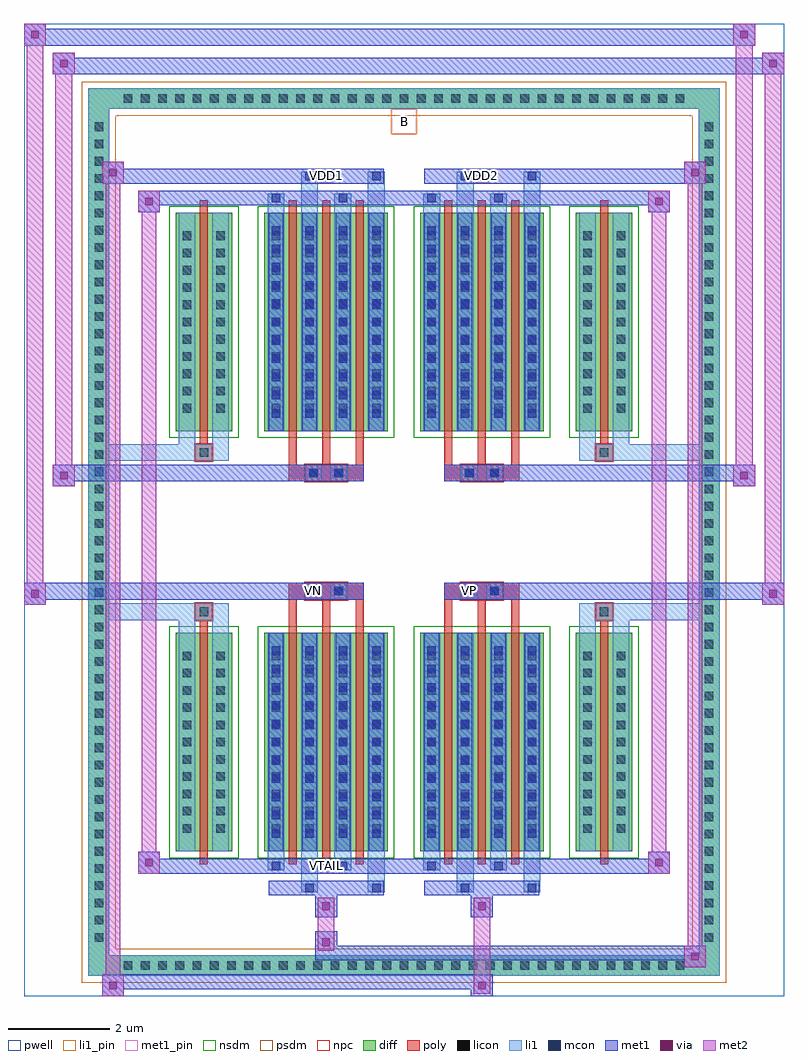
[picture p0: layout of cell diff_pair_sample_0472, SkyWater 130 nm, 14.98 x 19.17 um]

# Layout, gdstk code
import gdstk
lib = gdstk.Library(unit=1e-6, precision=5e-09)
def R(c, l, rs):  # rectangles x0, y0, x1, y1
    for r in rs: c.add(gdstk.rectangle(r[:2], r[2:], *l))
def A(c, l, x, y, w, h, nx, ny, dx, dy):  # array of equal rectangles
    R(c, l, [(x+i*dx, y+j*dy, x+i*dx+w, y+j*dy+h) for i in range(nx) for j in range(ny)])
def P(c, l, *ps):  # polygons
    for p in ps: c.add(gdstk.Polygon(p, *l))
pwell = (64, 44)
diff = (65, 20)
poly = (66, 20)
licon = (66, 44)
li1_pin = (67, 16)
li1 = (67, 20)
mcon = (67, 44)
met1_pin = (68, 16)
met1 = (68, 20)
via = (68, 44)
met2 = (69, 20)
nsdm = (93, 44)
psdm = (94, 20)
npc = (95, 20)

diff_pair_sample_0472 = lib.new_cell('diff_pair_sample_0472')
R(diff_pair_sample_0472, pwell, [(-7.49,-9.15,7.49,10.02), (-4.81,-7.34,-0.01,-0.8), (0.01,-7.34,4.81,-0.8), (-4.81,0.8,-0.01,7.34), (0.01,0.8,4.81,7.34)])
A(diff_pair_sample_0472, diff, -5.645, -8.75, 0.41, 0.41, 33, 2, 0.34, 17.09)
A(diff_pair_sample_0472, diff, -6.22, -8.195, 0.41, 0.41, 1, 48, 0, 0.34)
A(diff_pair_sample_0472, diff, 5.81, -8.195, 0.41, 0.41, 1, 48, 0, 0.34)
R(diff_pair_sample_0472, diff, [(-5.645,-8.75,5.645,-8.34), (-6.22,-8.195,-5.81,8.195), (5.81,-8.195,6.22,8.195), (-4.5,-6.295,-3.39,-1.985), (-2.75,-6.295,-0.32,-1.985), (0.32,-6.295,2.75,-1.985), (3.39,-6.295,4.5,-1.985), (-4.5,1.985,-3.39,6.295), (-2.75,1.985,-0.32,6.295), (0.32,1.985,2.75,6.295), (3.39,1.985,4.5,6.295), (-5.645,8.34,5.645,8.75)])
P(diff_pair_sample_0472, diff, [(6.22,8.75),(-6.22,8.75),(-6.22,-8.34),(-5.81,-8.34),(-5.81,8.34),(5.81,8.34),(5.81,-8.34),(-5.81,-8.34),(-6.22,-8.34),(-6.22,-8.75),(6.22,-8.75)])
A(diff_pair_sample_0472, poly, -2.275, -6.545, 0.16, 4.81, 3, 2, 0.66, 8.28)
A(diff_pair_sample_0472, poly, 0.795, -6.545, 0.16, 4.81, 3, 2, 0.66, 8.28)
A(diff_pair_sample_0472, poly, -2.275, -1.735, 0.16, 0.405, 3, 2, 0.66, 3.065)
A(diff_pair_sample_0472, poly, 0.795, -1.735, 0.16, 0.405, 3, 2, 0.66, 3.065)
R(diff_pair_sample_0472, poly, [(-4.025,-6.545,-3.865,-1.735), (3.865,-6.545,4.025,-1.735), (-4.11,-1.735,-3.78,-1.405), (-4.11,-1.735,-3.78,-1.405), (3.78,-1.735,4.11,-1.405), (3.78,-1.735,4.11,-1.405), (-2.275,-1.33,-0.795,-1), (-1.95,-1.33,-1.62,-1), (-1.45,-1.33,-1.12,-1), (0.795,-1.33,2.275,-1), (1.12,-1.33,1.45,-1), (1.62,-1.33,1.95,-1), (-2.275,1,-0.795,1.33), (-1.95,1,-1.62,1.33), (-1.45,1,-1.12,1.33), (0.795,1,2.275,1.33), (1.12,1,1.45,1.33), (1.62,1,1.95,1.33), (-4.11,1.405,-3.78,1.735), (-4.11,1.405,-3.78,1.735), (3.78,1.405,4.11,1.735), (3.78,1.405,4.11,1.735), (-4.025,1.735,-3.865,6.545), (3.865,1.735,4.025,6.545)])
A(diff_pair_sample_0472, licon, -5.525, -8.63, 0.17, 0.17, 33, 2, 0.34, 17.09)
A(diff_pair_sample_0472, licon, -6.1, -8.075, 0.17, 0.17, 1, 48, 0, 0.34)
A(diff_pair_sample_0472, licon, 5.93, -8.075, 0.17, 0.17, 1, 48, 0, 0.34)
A(diff_pair_sample_0472, licon, -4.36, -5.925, 0.17, 0.17, 1, 11, 0, 0.34)
A(diff_pair_sample_0472, licon, -3.7, -5.925, 0.17, 0.17, 1, 11, 0, 0.34)
A(diff_pair_sample_0472, licon, -2.61, -5.925, 0.17, 0.17, 4, 11, 0.66, 0.34)
A(diff_pair_sample_0472, licon, 0.46, -5.925, 0.17, 0.17, 4, 11, 0.66, 0.34)
A(diff_pair_sample_0472, licon, 3.53, -5.925, 0.17, 0.17, 1, 11, 0, 0.34)
A(diff_pair_sample_0472, licon, 4.19, -5.925, 0.17, 0.17, 1, 11, 0, 0.34)
A(diff_pair_sample_0472, licon, -4.36, 2.355, 0.17, 0.17, 1, 11, 0, 0.34)
A(diff_pair_sample_0472, licon, -3.7, 2.355, 0.17, 0.17, 1, 11, 0, 0.34)
A(diff_pair_sample_0472, licon, -2.61, 2.355, 0.17, 0.17, 4, 11, 0.66, 0.34)
A(diff_pair_sample_0472, licon, 0.46, 2.355, 0.17, 0.17, 4, 11, 0.66, 0.34)
A(diff_pair_sample_0472, licon, 3.53, 2.355, 0.17, 0.17, 1, 11, 0, 0.34)
A(diff_pair_sample_0472, licon, 4.19, 2.355, 0.17, 0.17, 1, 11, 0, 0.34)
R(diff_pair_sample_0472, licon, [(-4.03,-1.655,-3.86,-1.485), (3.86,-1.655,4.03,-1.485), (-1.87,-1.25,-1.7,-1.08), (-1.37,-1.25,-1.2,-1.08), (1.2,-1.25,1.37,-1.08), (1.7,-1.25,1.87,-1.08), (-1.87,1.08,-1.7,1.25), (-1.37,1.08,-1.2,1.25), (1.2,1.08,1.37,1.25), (1.7,1.08,1.87,1.25), (-4.03,1.485,-3.86,1.655), (3.86,1.485,4.03,1.655)])
R(diff_pair_sample_0472, li1_pin, [(-0.25,7.84,0.25,8.34)])
A(diff_pair_sample_0472, li1, -5.605, -8.71, 0.33, 0.33, 33, 2, 0.34, 17.09)
A(diff_pair_sample_0472, li1, -6.18, -8.155, 0.33, 0.33, 1, 48, 0, 0.34)
A(diff_pair_sample_0472, li1, 5.85, -8.155, 0.33, 0.33, 1, 48, 0, 0.34)
A(diff_pair_sample_0472, li1, -2.69, -6.295, 0.33, 4.31, 4, 2, 0.66, 8.28)
A(diff_pair_sample_0472, li1, 0.38, -6.295, 0.33, 4.31, 4, 2, 0.66, 8.28)
A(diff_pair_sample_0472, li1, -2.61, -6.025, 0.17, 0.17, 4, 11, 0.66, 0.36)
A(diff_pair_sample_0472, li1, -2.61, -6.025, 0.17, 3.77, 4, 2, 0.66, 8.28)
A(diff_pair_sample_0472, li1, 0.46, -6.025, 0.17, 0.17, 4, 11, 0.66, 0.36)
A(diff_pair_sample_0472, li1, 0.46, -6.025, 0.17, 3.77, 4, 2, 0.66, 8.28)
A(diff_pair_sample_0472, li1, -4.44, -6.005, 0.33, 0.33, 1, 11, 0, 0.34)
A(diff_pair_sample_0472, li1, -3.78, -6.005, 0.33, 0.33, 1, 11, 0, 0.34)
A(diff_pair_sample_0472, li1, -2.69, -6.005, 0.33, 0.33, 4, 11, 0.66, 0.34)
A(diff_pair_sample_0472, li1, 0.38, -6.005, 0.33, 0.33, 4, 11, 0.66, 0.34)
A(diff_pair_sample_0472, li1, 3.45, -6.005, 0.33, 0.33, 1, 11, 0, 0.34)
A(diff_pair_sample_0472, li1, 4.11, -6.005, 0.33, 0.33, 1, 11, 0, 0.34)
A(diff_pair_sample_0472, li1, -4.44, -1.735, 0.33, 0.33, 3, 2, 0.33, 3.14)
A(diff_pair_sample_0472, li1, 3.45, -1.735, 0.33, 0.33, 3, 2, 0.33, 3.14)
A(diff_pair_sample_0472, li1, -2.61, 2.255, 0.17, 0.17, 4, 11, 0.66, 0.36)
A(diff_pair_sample_0472, li1, 0.46, 2.255, 0.17, 0.17, 4, 11, 0.66, 0.36)
A(diff_pair_sample_0472, li1, -4.44, 2.275, 0.33, 0.33, 1, 11, 0, 0.34)
A(diff_pair_sample_0472, li1, -3.78, 2.275, 0.33, 0.33, 1, 11, 0, 0.34)
A(diff_pair_sample_0472, li1, -2.69, 2.275, 0.33, 0.33, 4, 11, 0.66, 0.34)
A(diff_pair_sample_0472, li1, 0.38, 2.275, 0.33, 0.33, 4, 11, 0.66, 0.34)
A(diff_pair_sample_0472, li1, 3.45, 2.275, 0.33, 0.33, 1, 11, 0, 0.34)
A(diff_pair_sample_0472, li1, 4.11, 2.275, 0.33, 0.33, 1, 11, 0, 0.34)
R(diff_pair_sample_0472, li1, [(-6.22,-8.75,-5.81,-8.34), (-6.22,-8.75,-5.81,-8.34), (-5.81,-8.75,5.81,-8.34), (5.81,-8.75,6.22,-8.34), (5.81,-8.75,6.22,-8.34), (-6.22,-8.34,-5.81,8.34), (5.81,-8.34,6.22,8.34), (-2.03,-7.1,-1.7,-6.295), (-1.95,-7.1,-1.78,-6.93), (-0.71,-7.1,-0.38,-6.295), (-0.63,-7.1,-0.46,-6.93), (1.04,-7.1,1.37,-6.295), (1.12,-7.1,1.29,-6.93), (2.36,-7.1,2.69,-6.295), (2.44,-7.1,2.61,-6.93), (-2.69,-6.67,-2.36,-6.295), (-2.61,-6.67,-2.44,-6.5), (-1.37,-6.67,-1.04,-6.295), (-1.29,-6.67,-1.12,-6.5), (0.38,-6.67,0.71,-6.295), (0.46,-6.67,0.63,-6.5), (1.7,-6.67,2.03,-6.295), (1.78,-6.67,1.95,-6.5), (-4.44,-6.295,-4.11,-1.985), (-3.78,-6.295,-3.45,-1.985), (3.45,-6.295,3.78,-1.985), (4.11,-6.295,4.44,-1.985), (-4.44,-1.985,-4.11,-1.405), (-3.78,-1.985,-3.45,-1.405), (3.45,-1.985,3.78,-1.405), (4.11,-1.985,4.44,-1.405), (-6.22,-1.735,-4.11,-1.405), (3.78,-1.735,6.22,-1.405), (-1.95,-1.33,-1.62,-1), (-1.45,-1.33,-1.12,-1), (1.12,-1.33,1.45,-1), (1.62,-1.33,1.95,-1), (-1.95,1,-1.62,1.33), (-1.45,1,-1.12,1.33), (1.12,1,1.45,1.33), (1.62,1,1.95,1.33), (-6.22,1.405,-4.11,1.735), (-4.44,1.405,-4.11,1.985), (-3.78,1.405,-3.45,1.985), (3.45,1.405,3.78,1.985), (3.78,1.405,6.22,1.735), (4.11,1.405,4.44,1.985), (-4.44,1.985,-4.11,6.295), (-3.78,1.985,-3.45,6.295), (3.45,1.985,3.78,6.295), (4.11,1.985,4.44,6.295), (-2.69,6.295,-2.36,6.67), (-2.03,6.295,-1.7,7.1), (-1.37,6.295,-1.04,6.67), (-0.71,6.295,-0.38,7.1), (0.38,6.295,0.71,6.67), (1.04,6.295,1.37,7.1), (1.7,6.295,2.03,6.67), (2.36,6.295,2.69,7.1), (-2.61,6.5,-2.44,6.67), (-1.29,6.5,-1.12,6.67), (0.46,6.5,0.63,6.67), (1.78,6.5,1.95,6.67), (-1.95,6.93,-1.78,7.1), (-0.63,6.93,-0.46,7.1), (1.12,6.93,1.29,7.1), (2.44,6.93,2.61,7.1), (-6.22,8.34,-5.81,8.75), (-6.22,8.34,-5.81,8.75), (-5.81,8.34,5.81,8.75), (5.81,8.34,6.22,8.75), (5.81,8.34,6.22,8.75)])
A(diff_pair_sample_0472, mcon, -2.61, -6.025, 0.17, 0.17, 4, 11, 0.66, 0.36)
A(diff_pair_sample_0472, mcon, 0.46, -6.025, 0.17, 0.17, 4, 11, 0.66, 0.36)
A(diff_pair_sample_0472, mcon, -2.61, 2.255, 0.17, 0.17, 4, 11, 0.66, 0.36)
A(diff_pair_sample_0472, mcon, 0.46, 2.255, 0.17, 0.17, 4, 11, 0.66, 0.36)
R(diff_pair_sample_0472, mcon, [(-1.95,-7.1,-1.78,-6.93), (-0.63,-7.1,-0.46,-6.93), (1.12,-7.1,1.29,-6.93), (2.44,-7.1,2.61,-6.93), (-2.61,-6.67,-2.44,-6.5), (-1.29,-6.67,-1.12,-6.5), (0.46,-6.67,0.63,-6.5), (1.78,-6.67,1.95,-6.5), (-1.87,-1.25,-1.7,-1.08), (-1.37,-1.25,-1.2,-1.08), (1.2,-1.25,1.37,-1.08), (1.7,-1.25,1.87,-1.08), (-1.87,1.08,-1.7,1.25), (-1.37,1.08,-1.2,1.25), (1.2,1.08,1.37,1.25), (1.7,1.08,1.87,1.25), (-2.61,6.5,-2.44,6.67), (-1.29,6.5,-1.12,6.67), (0.46,6.5,0.63,6.67), (1.78,6.5,1.95,6.67), (-1.95,6.93,-1.78,7.1), (-0.63,6.93,-0.46,7.1), (1.12,6.93,1.29,7.1), (2.44,6.93,2.61,7.1)])
R(diff_pair_sample_0472, met1_pin, [(-1.67,-6.71,-1.4,-6.44), (-1.92,-1.29,-1.65,-1.02), (1.15,-1.29,1.42,-1.02), (-1.67,6.89,-1.4,7.16), (1.4,6.89,1.67,7.16)])
A(diff_pair_sample_0472, met1, -2.67, -6.295, 0.29, 4.31, 4, 2, 0.66, 8.28)
A(diff_pair_sample_0472, met1, 0.4, -6.295, 0.29, 4.31, 4, 2, 0.66, 8.28)
A(diff_pair_sample_0472, met1, -2.67, -6.085, 0.29, 0.29, 4, 11, 0.66, 0.36)
A(diff_pair_sample_0472, met1, 0.4, -6.085, 0.29, 0.29, 4, 11, 0.66, 0.36)
A(diff_pair_sample_0472, met1, -2.67, 2.195, 0.29, 0.29, 4, 11, 0.66, 0.36)
A(diff_pair_sample_0472, met1, 0.4, 2.195, 0.29, 0.29, 4, 11, 0.66, 0.36)
R(diff_pair_sample_0472, met1, [(-5.95,-9.15,-5.52,-8.72), (1.32,-9.15,1.75,-8.72), (-5.95,-9.01,1.75,-8.72), (5.52,-8.58,5.95,-8.15), (-1.75,-8.44,5.95,-8.15), (-1.75,-8.3,-1.32,-7.87), (-1.75,-7.59,-1.32,-7.16), (1.32,-7.59,1.75,-7.16), (-2.67,-7.16,-0.4,-6.87), (-2.01,-7.16,-1.72,-6.87), (-0.69,-7.16,-0.4,-6.87), (0.4,-7.16,2.67,-6.87), (1.06,-7.16,1.35,-6.87), (2.38,-7.16,2.67,-6.87), (-5.24,-6.73,-4.81,-6.3), (-5.24,-6.73,-2.67,-6.44), (-2.67,-6.73,-2.38,-6.44), (-2.67,-6.73,-0.4,-6.44), (-1.35,-6.73,-1.06,-6.44), (-0.4,-6.73,0.4,-6.44), (0.4,-6.73,0.69,-6.44), (0.4,-6.73,2.67,-6.44), (1.72,-6.73,2.01,-6.44), (2.67,-6.73,5.24,-6.44), (4.81,-6.73,5.24,-6.3), (-7.49,-1.43,-7.06,-1), (7.06,-1.43,7.49,-1), (-7.49,-1.33,-0.795,-1), (-2.275,-1.33,-0.795,-1), (0.795,-1.33,2.275,-1), (0.795,-1.33,7.49,-1), (-1.93,-1.31,-1.64,-1.02), (-1.43,-1.31,-1.14,-1.02), (1.14,-1.31,1.43,-1.02), (1.64,-1.31,1.93,-1.02), (-6.92,0.9,-6.49,1.33), (6.49,0.9,6.92,1.33), (-6.92,1,-2.275,1.33), (-2.275,1,-0.795,1.33), (0.795,1,2.275,1.33), (2.275,1,6.92,1.33), (-1.93,1.02,-1.64,1.31), (-1.43,1.02,-1.14,1.31), (1.14,1.02,1.43,1.31), (1.64,1.02,1.93,1.31), (-5.24,6.3,-4.81,6.73), (4.81,6.3,5.24,6.73), (-5.24,6.44,-2.67,6.73), (-2.67,6.44,-2.38,6.73), (-2.67,6.44,-0.4,6.73), (-1.35,6.44,-1.06,6.73), (-0.4,6.44,0.4,6.73), (0.4,6.44,0.69,6.73), (0.4,6.44,2.67,6.73), (1.72,6.44,2.01,6.73), (2.67,6.44,5.24,6.73), (-5.95,6.87,-5.52,7.3), (-5.95,6.87,-2.67,7.16), (-2.67,6.87,-0.4,7.16), (-2.01,6.87,-1.72,7.16), (-0.69,6.87,-0.4,7.16), (0.4,6.87,2.67,7.16), (1.06,6.87,1.35,7.16), (2.38,6.87,2.67,7.16), (2.67,6.87,5.95,7.16), (5.52,6.87,5.95,7.3), (-6.92,9.02,-6.49,9.45), (-6.92,9.02,-4.81,9.35), (-4.81,9.02,4.81,9.35), (4.81,9.02,7.49,9.35), (7.06,9.02,7.49,9.45), (-7.49,9.59,-7.06,10.02), (-7.49,9.59,-4.81,9.92), (-4.81,9.59,4.81,9.92), (4.81,9.59,6.92,9.92), (6.49,9.59,6.92,10.02)])
R(diff_pair_sample_0472, via, [(-5.81,-9.01,-5.66,-8.86), (1.46,-9.01,1.61,-8.86), (5.66,-8.44,5.81,-8.29), (-1.61,-8.16,-1.46,-8.01), (-1.61,-7.45,-1.46,-7.3), (1.46,-7.45,1.61,-7.3), (-5.1,-6.59,-4.95,-6.44), (4.95,-6.59,5.1,-6.44), (-7.35,-1.29,-7.2,-1.14), (7.2,-1.29,7.35,-1.14), (-6.78,1.04,-6.63,1.19), (6.63,1.04,6.78,1.19), (-5.1,6.44,-4.95,6.59), (4.95,6.44,5.1,6.59), (-5.81,7.01,-5.66,7.16), (5.66,7.01,5.81,7.16), (-6.78,9.16,-6.63,9.31), (7.2,9.16,7.35,9.31), (-7.35,9.73,-7.2,9.88), (6.63,9.73,6.78,9.88)])
R(diff_pair_sample_0472, met2, [(-5.95,-9.15,-5.52,-8.72), (-5.88,-9.15,-5.59,7.3), (-5.59,-9.15,-5.52,-8.72), (-5.9,-9.1,-5.57,-8.77), (1.37,-9.1,1.7,-8.77), (1.37,-8.77,1.7,-7.54), (5.52,-8.58,5.95,-8.15), (5.59,-8.58,5.88,7.3), (5.88,-8.58,5.95,-8.15), (5.57,-8.53,5.9,-8.2), (-1.7,-8.25,-1.37,-7.92), (-1.7,-7.92,-1.37,-7.54), (-1.7,-7.54,-1.37,-7.21), (1.37,-7.54,1.7,-7.21), (-5.24,-6.73,-4.81,-6.3), (-5.17,-6.73,-4.88,6.73), (-4.88,-6.73,-4.81,-6.3), (4.81,-6.73,5.24,-6.3), (4.88,-6.73,5.17,6.73), (5.17,-6.73,5.24,-6.3), (-5.19,-6.68,-4.86,-6.35), (4.86,-6.68,5.19,-6.35), (-7.49,-1.43,-7.06,-1), (-7.44,-1.43,-7.11,10.02), (-7.11,-1.43,-7.06,-1), (7.06,-1.43,7.49,-1), (7.11,-1.43,7.44,9.45), (7.44,-1.43,7.49,-1), (-7.44,-1.38,-7.11,-1.05), (7.11,-1.38,7.44,-1.05), (-6.92,0.9,-6.49,1.33), (-6.87,0.9,-6.54,9.45), (-6.54,0.9,-6.49,1.33), (6.49,0.9,6.92,1.33), (6.54,0.9,6.87,10.02), (6.87,0.9,6.92,1.33), (-6.87,0.95,-6.54,1.28), (6.54,0.95,6.87,1.28), (-5.24,6.3,-4.81,6.73), (-4.88,6.3,-4.81,6.73), (4.81,6.3,5.24,6.73), (5.17,6.3,5.24,6.73), (-5.19,6.35,-4.86,6.68), (4.86,6.35,5.19,6.68), (-5.95,6.87,-5.52,7.3), (-5.59,6.87,-5.52,7.3), (5.52,6.87,5.95,7.3), (5.88,6.87,5.95,7.3), (-5.9,6.92,-5.57,7.25), (5.57,6.92,5.9,7.25), (-6.92,9.02,-6.49,9.45), (-6.54,9.02,-6.49,9.45), (7.06,9.02,7.49,9.45), (7.44,9.02,7.49,9.45), (-6.87,9.07,-6.54,9.4), (7.11,9.07,7.44,9.4), (-7.49,9.59,-7.06,10.02), (-7.11,9.59,-7.06,10.02), (6.49,9.59,6.92,10.02), (6.87,9.59,6.92,10.02), (-7.44,9.64,-7.11,9.97), (6.54,9.64,6.87,9.97)])
R(diff_pair_sample_0472, nsdm, [(-4.63,-6.425,-3.26,-1.855), (-2.88,-6.425,-0.19,-1.855), (0.19,-6.425,2.88,-1.855), (3.26,-6.425,4.63,-1.855), (-4.63,1.855,-3.26,6.425), (-2.88,1.855,-0.19,6.425), (0.19,1.855,2.88,6.425), (3.26,1.855,4.63,6.425)])
P(diff_pair_sample_0472, psdm, [(6.35,8.88),(-6.35,8.88),(-6.35,-8.21),(-5.68,-8.21),(-5.68,8.21),(5.68,8.21),(5.68,-8.21),(-5.68,-8.21),(-6.35,-8.21),(-6.35,-8.88),(6.35,-8.88)])
R(diff_pair_sample_0472, npc, [(-4.13,-1.755,-3.76,-1.385), (3.76,-1.755,4.13,-1.385), (-1.97,-1.35,-1.6,-0.98), (-1.97,-1.35,-1.1,-0.98), (-1.97,-1.35,-1.1,-0.98), (-1.47,-1.35,-1.1,-0.98), (1.1,-1.35,1.47,-0.98), (1.1,-1.35,1.97,-0.98), (1.1,-1.35,1.97,-0.98), (1.6,-1.35,1.97,-0.98), (-1.97,0.98,-1.6,1.35), (-1.97,0.98,-1.1,1.35), (-1.97,0.98,-1.1,1.35), (-1.47,0.98,-1.1,1.35), (1.1,0.98,1.47,1.35), (1.1,0.98,1.97,1.35), (1.1,0.98,1.97,1.35), (1.6,0.98,1.97,1.35), (-4.13,1.385,-3.76,1.755), (3.76,1.385,4.13,1.755)])
diff_pair_sample_0472.add(gdstk.Label('VTAIL', (-1.535,-6.575), layer=68, texttype=5))
diff_pair_sample_0472.add(gdstk.Label('VN', (-1.785,-1.155), layer=68, texttype=5))
diff_pair_sample_0472.add(gdstk.Label('VP', (1.285,-1.155), layer=68, texttype=5))
diff_pair_sample_0472.add(gdstk.Label('B', (0,8.09), layer=67, texttype=5))
diff_pair_sample_0472.add(gdstk.Label('VDD2', (1.535,7.025), layer=68, texttype=5))
diff_pair_sample_0472.add(gdstk.Label('VDD1', (-1.535,7.025), layer=68, texttype=5))

lib.write_gds('diff_pair_sample_0472.gds')
